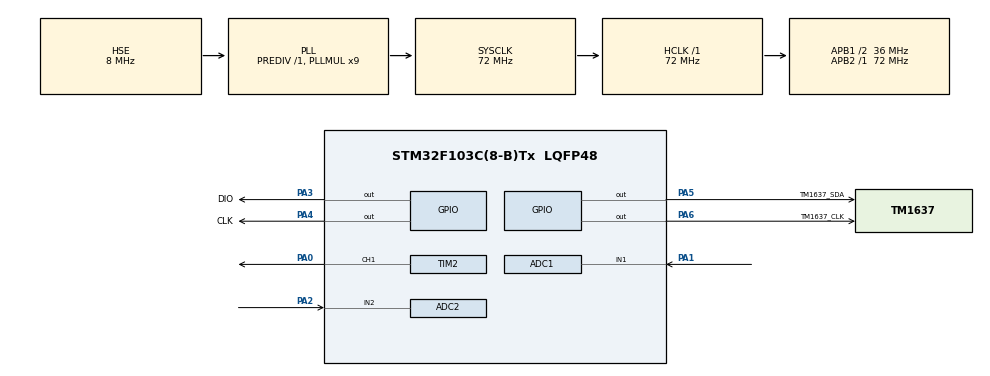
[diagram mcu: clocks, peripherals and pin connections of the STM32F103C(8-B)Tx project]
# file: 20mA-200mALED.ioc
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ADC1.Channel-0\#ChannelRegularConversion=ADC_CHANNEL_1
ADC1.NbrOfConversionFlag=1
ADC1.master=1
ADC2.Channel-0\#ChannelRegularConversion=ADC_CHANNEL_2
ADC2.NbrOfConversionFlag=1
ADC2.Rank-0\#ChannelRegularConversion=1
ADC2.SamplingTime-0\#ChannelRegularConversion=ADC_SAMPLETIME_1CYCLE_5
Mcu.Family=STM32F1
Mcu.Name=STM32F103C(8-B)Tx
Mcu.Package=LQFP48
NVIC.PriorityGroup=NVIC_PRIORITYGROUP_4
PA0-WKUP.Signal=S_TIM2_CH1_ETR
PA1.Signal=ADCx_IN1
PA13.Mode=Serial_Wire
PA13.Signal=SYS_JTMS-SWDIO
PA14.Mode=Serial_Wire
PA14.Signal=SYS_JTCK-SWCLK
PA2.Signal=ADCx_IN2
PA3.GPIO_Label=DIO
PA3.GPIO_Speed=GPIO_SPEED_FREQ_HIGH
PA3.PinState=GPIO_PIN_SET
PA3.Signal=GPIO_Output
PA4.GPIO_Label=CLK
PA4.GPIO_Speed=GPIO_SPEED_FREQ_HIGH
PA4.PinState=GPIO_PIN_SET
PA4.Signal=GPIO_Output
PA5.GPIO_Label=TM1637_SDA
PA5.Signal=GPIO_Output
PA6.GPIO_Label=TM1637_CLK
PA6.GPIO_ModeDefaultOutputPP=GPIO_MODE_OUTPUT_PP
PA6.GPIO_PuPd=GPIO_NOPULL
PA6.Signal=GPIO_Output
PC14-OSC32_IN.Mode=LSE-External-Oscillator
PC14-OSC32_IN.Signal=RCC_OSC32_IN
PC15-OSC32_OUT.Mode=LSE-External-Oscillator
PC15-OSC32_OUT.Signal=RCC_OSC32_OUT
PD0-OSC_IN.Mode=HSE-External-Oscillator
PD0-OSC_IN.Signal=RCC_OSC_IN
PD1-OSC_OUT.Mode=HSE-External-Oscillator
PD1-OSC_OUT.Signal=RCC_OSC_OUT
ProjectManager.HeapSize=0x200
ProjectManager.StackSize=0x400
ProjectManager.TargetToolchain=MDK-ARM V5.32
RCC.ADCPresc=RCC_ADCPCLK2_DIV6
RCC.AHBFreq_Value=72000000
RCC.APB1CLKDivider=RCC_HCLK_DIV2
RCC.APB1Freq_Value=36000000
RCC.APB1TimFreq_Value=72000000
RCC.APB2Freq_Value=72000000
RCC.APB2TimFreq_Value=72000000
RCC.HCLKFreq_Value=72000000
RCC.PLLMUL=RCC_PLL_MUL9
RCC.PLLSourceVirtual=RCC_PLLSOURCE_HSE
RCC.SYSCLKFreq_VALUE=72000000
RCC.SYSCLKSource=RCC_SYSCLKSOURCE_PLLCLK
RCC.USBFreq_Value=72000000
SH.ADCx_IN1.0=ADC1_IN1,IN1
SH.ADCx_IN2.0=ADC2_IN2,IN2
SH.S_TIM2_CH1_ETR.0=TIM2_CH1,PWM Generation1 CH1
TIM2.Channel-PWM\ Generation1\ CH1=TIM_CHANNEL_1
TIM2.Period=999
TIM2.Prescaler=71
VP_TIM4_VS_ClockSourceINT.Mode=Internal
board=custom

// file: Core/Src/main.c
/* USER CODE BEGIN Header */
/**
  ******************************************************************************
  * @file           : main.c
  * @brief          : Main program body
  ******************************************************************************
  * @attention
  *
  * Copyright (c) 2026 STMicroelectronics.
  * All rights reserved.
  *
  * This software is licensed under terms that can be found in the LICENSE file
  * in the root directory of this software component.
  * If no LICENSE file comes with this software, it is provided AS-IS.
  *
  ******************************************************************************
  */
/* USER CODE END Header */
#include "main.h"
#include "adc.h"
#include "tim.h"
#include "gpio.h"

/* USER CODE BEGIN Includes */
#include "bsp_pwm.h"
#include "bsp_adc.h"
#include "bsp_light.h"
#include "bsp_adc2.h"
#include "tm1637.h"          /* 第二块：PA5/PA6 */
#include "tm1637_2.h"        /* 第一块：PA3/PA4 */
#include "app_timer.h"       /* 按键 PB11 + 60 秒倒计时 */
/* USER CODE END Includes */

/* USER CODE BEGIN PV */
uint16_t g_adc_raw   = 0;   /* ADC1 原始采样值 */
uint16_t g_adc_filt  = 0;   /* ADC1 滤波后的值 */
uint16_t g_pwm_ccr   = 0;   /* 映射得到的 PWM 比较值 */
uint32_t g_volt_mv   = 0;   /* ADC2 换算后的电压 mV */

uint16_t g_usCO2ppm  = 1234;  /* 待显示数值（接上采样后由采集逻辑更新） */
uint8_t  g_ucaDispCode[4];    /* 拆位缓存 */
/* USER CODE END PV */

void SystemClock_Config(void);

int main(void)
{

  /* MCU Configuration--------------------------------------------------------*/

  /* Reset of all peripherals, Initializes the Flash interface and the Systick. */
  HAL_Init();

  /* Configure the system clock */
  SystemClock_Config();

  /* Initialize all configured peripherals */
  MX_GPIO_Init();
  MX_ADC1_Init();
  MX_ADC2_Init();
  MX_TIM2_Init();
  MX_TIM4_Init();
  /* USER CODE BEGIN 2 */
  TM1637_Init();                  /* 第一块数码管 PA3/PA4，上电清屏 */
  TM1637_SetBrightness(5);        /* 亮度 0~7 */
  TM1637_ShowNumber(g_usCO2ppm, 0, 1);   /* 第一块先显示一次数值 */

  AppTimer_Init();                /* 按键 PB11 + 第二块 PA5/PA6 倒计时，显示 60.0 */
  /* USER CODE END 2 */

  /* Infinite loop */
  /* USER CODE BEGIN WHILE */
  while (1)
  {
      /* 第二块 PA5/PA6：按键 PB11 触发 60 秒倒计时。
         内部用 HAL_GetTick 计时并自己控刷新节奏，非阻塞，不会卡住主循环 */
      AppTimer_Task();

      HAL_Delay(5);         /* 5ms 轮询一次，按键响应足够灵敏 */

    /* USER CODE END WHILE */

  }
}

void SystemClock_Config(void)
{
  RCC_OscInitTypeDef RCC_OscInitStruct = {0};
  RCC_ClkInitTypeDef RCC_ClkInitStruct = {0};
  RCC_PeriphCLKInitTypeDef PeriphClkInit = {0};

  /** Initializes the RCC Oscillators according to the specified parameters
  * in the RCC_OscInitTypeDef structure.
  */
  RCC_OscInitStruct.OscillatorType = RCC_OSCILLATORTYPE_HSE;
  RCC_OscInitStruct.HSEState = RCC_HSE_ON;
  RCC_OscInitStruct.HSEPredivValue = RCC_HSE_PREDIV_DIV1;
  RCC_OscInitStruct.HSIState = RCC_HSI_ON;
  RCC_OscInitStruct.PLL.PLLState = RCC_PLL_ON;
  RCC_OscInitStruct.PLL.PLLSource = RCC_PLLSOURCE_HSE;
  RCC_OscInitStruct.PLL.PLLMUL = RCC_PLL_MUL9;
  if (HAL_RCC_OscConfig(&RCC_OscInitStruct) != HAL_OK)
  {
    Error_Handler();
  }

  /** Initializes the CPU, AHB and APB buses clocks
  */
  RCC_ClkInitStruct.ClockType = RCC_CLOCKTYPE_HCLK|RCC_CLOCKTYPE_SYSCLK
                              |RCC_CLOCKTYPE_PCLK1|RCC_CLOCKTYPE_PCLK2;
  RCC_ClkInitStruct.SYSCLKSource = RCC_SYSCLKSOURCE_PLLCLK;
  RCC_ClkInitStruct.AHBCLKDivider = RCC_SYSCLK_DIV1;
  RCC_ClkInitStruct.APB1CLKDivider = RCC_HCLK_DIV2;
  RCC_ClkInitStruct.APB2CLKDivider = RCC_HCLK_DIV1;

  if (HAL_RCC_ClockConfig(&RCC_ClkInitStruct, FLASH_LATENCY_2) != HAL_OK)
  {
    Error_Handler();
  }
  PeriphClkInit.PeriphClockSelection = RCC_PERIPHCLK_ADC;
  PeriphClkInit.AdcClockSelection = RCC_ADCPCLK2_DIV6;
  if (HAL_RCCEx_PeriphCLKConfig(&PeriphClkInit) != HAL_OK)
  {
    Error_Handler();
  }
}

void Error_Handler(void)
{
  __disable_irq();
  while (1)
  {
  }
}
